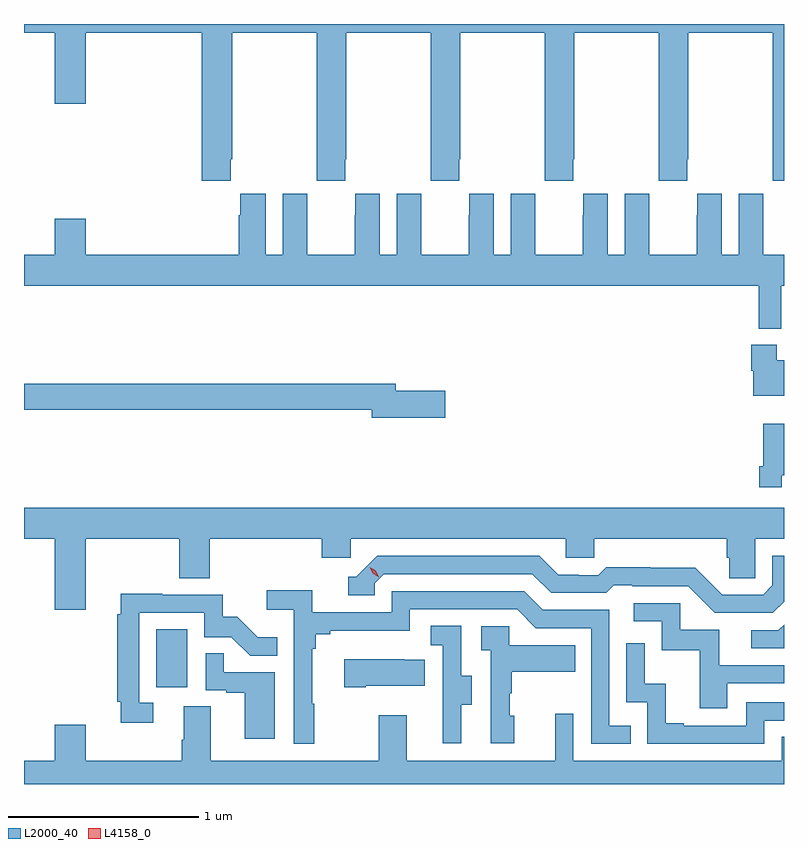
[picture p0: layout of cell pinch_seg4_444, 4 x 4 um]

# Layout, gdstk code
import gdstk
lib = gdstk.Library(unit=1e-6, precision=1e-09)
def R(c, l, rs):  # rectangles x0, y0, x1, y1
    for r in rs: c.add(gdstk.rectangle(r[:2], r[2:], *l))
def P(c, l, *ps):  # polygons
    for p in ps: c.add(gdstk.Polygon(p, *l))
L2000_40 = (2000, 40)
L4158_0 = (4158, 0)

pinch_seg4_444 = lib.new_cell('pinch_seg4_444')
R(pinch_seg4_444, L2000_40, [(896.81,785.382,896.974,785.689)])
P(pinch_seg4_444, L2000_40, [(896.115,788.828),(896.276,788.828),(896.276,788.454),(896.44,788.454),(896.44,788.828),(897.05,788.828),(897.05,788.049),(897.203,788.049),(897.203,788.161),(897.21,788.161),(897.21,788.828),(897.655,788.828),(897.655,788.161),(897.657,788.161),(897.657,788.049),(897.807,788.049),(897.807,788.161),(897.81,788.161),(897.81,788.828),(898.255,788.828),(898.255,788.161),(898.257,788.161),(898.257,788.049),(898.407,788.049),(898.407,788.161),(898.41,788.161),(898.41,788.828),(898.855,788.828),(898.855,788.161),(898.857,788.161),(898.857,788.049),(899.007,788.049),(899.007,788.161),(899.01,788.161),(899.01,788.828),(899.455,788.828),(899.455,788.161),(899.457,788.161),(899.457,788.049),(899.607,788.049),(899.607,788.161),(899.61,788.161),(899.61,788.828),(900.055,788.828),(900.055,788.161),(900.057,788.161),(900.057,788.049),(900.115,788.049),(900.115,788.874),(896.115,788.874)],
  [(900.101,787.496),(900.115,787.496),(900.115,787.66),(900.007,787.66),(900.007,787.868),(900.006,787.868),(900.006,787.981),(899.876,787.981),(899.876,787.66),(899.788,787.66),(899.788,787.981),(899.658,787.981),(899.658,787.868),(899.657,787.868),(899.657,787.66),(899.407,787.66),(899.407,787.868),(899.406,787.868),(899.406,787.981),(899.276,787.981),(899.276,787.66),(899.188,787.66),(899.188,787.981),(899.058,787.981),(899.058,787.868),(899.057,787.868),(899.057,787.66),(898.807,787.66),(898.807,787.868),(898.806,787.868),(898.806,787.981),(898.676,787.981),(898.676,787.66),(898.588,787.66),(898.588,787.981),(898.458,787.981),(898.458,787.868),(898.457,787.868),(898.457,787.66),(898.207,787.66),(898.207,787.868),(898.206,787.868),(898.206,787.981),(898.076,787.981),(898.076,787.66),(897.988,787.66),(897.988,787.981),(897.858,787.981),(897.858,787.868),(897.857,787.868),(897.857,787.66),(897.607,787.66),(897.607,787.868),(897.606,787.868),(897.606,787.981),(897.476,787.981),(897.476,787.66),(897.388,787.66),(897.388,787.981),(897.254,787.981),(897.254,787.868),(897.245,787.868),(897.245,787.66),(896.44,787.66),(896.44,787.849),(896.276,787.849),(896.276,787.66),(896.115,787.66),(896.115,787.496),(899.983,787.496),(899.983,787.271),(900.101,787.271)],
  [(900.115,787.105),(900.076,787.105),(900.076,787.186),(899.942,787.186),(899.942,787.05),(899.954,787.05),(899.954,786.917),(900.115,786.917)],
  [(898.333,786.944),(898.072,786.944),(898.072,786.98),(896.115,786.98),(896.115,786.844),(897.944,786.844),(897.944,786.802),(898.333,786.802)],
  [(900.102,786.5),(900.115,786.5),(900.115,786.769),(900.006,786.769),(900.006,786.547),(899.986,786.547),(899.986,786.435),(900.102,786.435)],
  [(896.44,786.164),(896.932,786.164),(896.932,785.956),(897.092,785.956),(897.092,786.164),(897.683,786.164),(897.683,786.066),(897.834,786.066),(897.834,786.164),(898.965,786.164),(898.965,786.066),(899.115,786.066),(899.115,786.164),(899.813,786.164),(899.813,786.066),(899.827,786.066),(899.827,785.956),(899.964,785.956),(899.964,786.164),(900.115,786.164),(900.115,786.328),(896.115,786.328),(896.115,786.164),(896.276,786.164),(896.276,785.79),(896.44,785.79)],
  [(900.115,785.833),(900.115,786.075),(900.054,786.075),(900.054,785.919),(900.006,785.871),(899.79,785.871),(899.648,786.013),(899.412,786.013),(899.412,786.016),(899.179,786.016),(899.137,785.973),(899.034,785.973),(899.034,785.976),(898.927,785.976),(898.828,786.075),(897.975,786.075),(897.864,785.964),(897.821,785.964),(897.821,785.868),(897.96,785.868),(897.96,785.931),(898.008,785.979),(898.791,785.979),(898.89,785.88),(899.179,785.88),(899.218,785.919),(899.317,785.919),(899.317,785.916),(899.61,785.916),(899.751,785.775),(900.057,785.775)],
  [(897.643,785.297),(897.631,785.297),(897.631,785.585),(897.65,785.585),(897.65,785.662),(897.727,785.662),(897.727,785.681),(898.146,785.681),(898.146,785.793),(898.71,785.793),(898.809,785.694),(899.1,785.694),(899.1,785.085),(899.309,785.085),(899.309,785.181),(899.196,785.181),(899.196,785.79),(898.846,785.79),(898.747,785.889),(898.05,785.889),(898.05,785.778),(897.632,785.778),(897.632,785.894),(897.393,785.894),(897.393,785.792),(897.534,785.792),(897.534,785.085),(897.643,785.085)],
  [(896.794,785.301),(896.721,785.301),(896.721,785.775),(897.063,785.775),(897.063,785.646),(897.207,785.646),(897.305,785.548),(897.449,785.548),(897.449,785.647),(897.345,785.647),(897.238,785.754),(897.162,785.754),(897.162,785.871),(896.843,785.871),(896.843,785.876),(896.624,785.876),(896.624,785.768),(896.605,785.768),(896.605,785.308),(896.624,785.308),(896.624,785.196),(896.794,785.196)],
  [(899.815,785.403),(900.115,785.403),(900.115,785.499),(899.773,785.499),(899.773,785.685),(899.568,785.685),(899.568,785.826),(899.325,785.826),(899.325,785.73),(899.472,785.73),(899.472,785.577),(899.671,785.577),(899.671,785.274),(899.815,785.274)],
  [(900.115,785.713),(900.084,785.682),(899.943,785.682),(899.943,785.589),(900.115,785.589)],
  [(898.417,785.29),(898.471,785.29),(898.471,785.445),(898.416,785.445),(898.416,785.708),(898.257,785.708),(898.257,785.605),(898.32,785.605),(898.32,785.301),(898.319,785.301),(898.319,785.088),(898.417,785.088)],
  [(898.696,785.232),(898.671,785.232),(898.671,785.351),(898.681,785.351),(898.681,785.465),(899.015,785.465),(899.015,785.605),(898.668,785.605),(898.668,785.703),(898.521,785.703),(898.521,785.579),(898.572,785.579),(898.572,785.088),(898.696,785.088)],
  [(900.012,785.208),(900.115,785.208),(900.115,785.304),(899.916,785.304),(899.916,785.181),(899.587,785.181),(899.587,785.194),(899.492,785.194),(899.492,785.402),(899.382,785.402),(899.382,785.614),(899.286,785.614),(899.286,785.304),(899.394,785.304),(899.394,785.085),(900.012,785.085)],
  [(897.436,785.463),(897.167,785.463),(897.167,785.561),(897.072,785.561),(897.072,785.367),(897.179,785.367),(897.179,785.355),(897.278,785.355),(897.278,785.112),(897.436,785.112)],
  [(897.913,785.39),(898.223,785.39),(898.223,785.527),(898.115,785.527),(898.115,785.53),(897.801,785.53),(897.801,785.383),(897.913,785.383)],
  [(900.115,785.123),(900.102,785.123),(900.102,784.996),(899.007,784.996),(899.007,785.245),(898.91,785.245),(898.91,784.996),(898.129,784.996),(898.129,785.236),(897.982,785.236),(897.982,784.996),(897.097,784.996),(897.097,785.282),(896.957,785.282),(896.957,785.108),(896.945,785.108),(896.945,784.996),(896.44,784.996),(896.44,785.185),(896.276,785.185),(896.276,784.996),(896.115,784.996),(896.115,784.874),(900.115,784.874)])
P(pinch_seg4_444, L4158_0, [(897.982,785.963),(897.951,785.983),(897.935,786.016),(897.935,786.016),(897.936,786.016),(897.966,785.996),(897.982,785.964),(897.982,785.963)])

lib.write_gds('pinch_seg4_444.gds')
